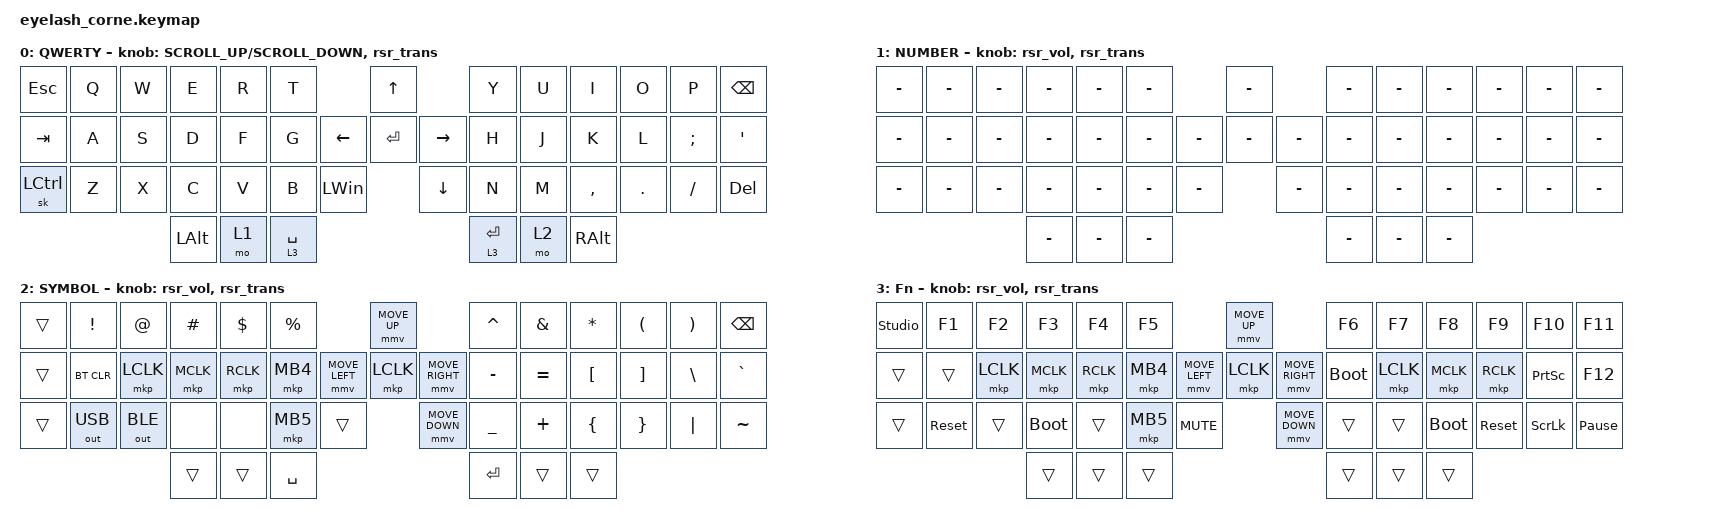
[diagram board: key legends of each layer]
#define ZMK_POINTING_DEFAULT_MOVE_VAL 1200  // 600
#define ZMK_POINTING_DEFAULT_SCRL_VAL 25   // 10

#include <input/processors.dtsi>
#include <zephyr/dt-bindings/input/input-event-codes.h>
#include <behaviors/runtime-sensor-rotate.dtsi>
#include <behaviors.dtsi>
#include <dt-bindings/zmk/bt.h>
#include <dt-bindings/zmk/keys.h>
#include <dt-bindings/zmk/outputs.h>
#include <dt-bindings/zmk/pointing.h>

&soft_off { hold-time-ms = <2000>; };

/ {
    behaviors {
        td0: td0 {
            compatible = "zmk,behavior-tap-dance";
            display-name = "Shift/Caps Lock Tap Dance";
            #binding-cells = <0>;
            bindings = <&kp LEFT_SHIFT>, <&kp CAPS>;
        };

        rsr_vol: rsr_vol {
            compatible = "zmk,behavior-runtime-sensor-rotate";
            #sensor-binding-cells = <0>;
            tap-ms = <5>;
            cw-binding = <&kp C_VOL_UP>;
            ccw-binding = <&kp C_VOL_DN>;
        };

        rsr_trans: rsr_trans {
            compatible = "zmk,behavior-runtime-sensor-rotate";
            #sensor-binding-cells = <0>;
            tap-ms = <0>;
        };
    };

    combos {
        compatible = "zmk,combos";

        softoff {
            bindings = <&soft_off>;
            key-positions = <1 15 29>;
        };
    };

    keymap {
        compatible = "zmk,keymap";

        default_layer {
            display-name = "QWERTY";
            bindings = <
&kp ESC    &kp Q  &kp W  &kp E         &kp R  &kp T                                  &kp UP                &kp Y        &kp U  &kp I      &kp O    &kp P     &kp BSPC
&kp TAB    &kp A  &kp S  &kp D         &kp F  &kp G                        &kp LEFT  &kp ENTER  &kp RIGHT  &kp H        &kp J  &kp K      &kp L    &kp SEMI  &kp SQT
&sk LCTRL  &kp Z  &kp X  &kp C         &kp V  &kp B        &kp LEFT_WIN              &kp DOWN              &kp N        &kp M  &kp COMMA  &kp DOT  &kp FSLH  &kp DELETE
                         &kp LEFT_ALT  &mo 1  &lt 3 SPACE                                                  &lt 3 ENTER  &mo 2  &kp RALT
            >;

            sensor-bindings =
                <&inc_dec_kp K_SCROLL_UP K_SCROLL_DOWN>,
                <&rsr_trans>;
        };

        lower_layer {
            display-name = "NUMBER";
            bindings = <
&kp MINUS  &kp MINUS  &kp MINUS  &kp MINUS  &kp MINUS  &kp MINUS                          &kp MINUS             &kp MINUS  &kp MINUS  &kp MINUS  &kp MINUS  &kp MINUS  &kp MINUS
&kp MINUS  &kp MINUS  &kp MINUS  &kp MINUS  &kp MINUS  &kp MINUS               &kp MINUS  &kp MINUS  &kp MINUS  &kp MINUS  &kp MINUS  &kp MINUS  &kp MINUS  &kp MINUS  &kp MINUS
&kp MINUS  &kp MINUS  &kp MINUS  &kp MINUS  &kp MINUS  &kp MINUS  &kp MINUS               &kp MINUS             &kp MINUS  &kp MINUS  &kp MINUS  &kp MINUS  &kp MINUS  &kp MINUS
                                 &kp MINUS  &kp MINUS  &kp MINUS                                                &kp MINUS  &kp MINUS  &kp MINUS
            >;

            sensor-bindings = <&rsr_vol &rsr_trans>;
        };

        raise_layer {
            display-name = "SYMBOL";
            bindings = <
&trans  &kp EXCL      &kp AT        &kp HASH   &kp DLLR   &kp PRCNT                            &mmv MOVE_UP                     &kp CARET  &kp AMPS   &kp ASTRK  &kp LPAR  &kp RPAR  &kp BSPC
&trans  &bt BT_CLR    &mkp LCLK     &mkp MCLK  &mkp RCLK  &mkp MB4             &mmv MOVE_LEFT  &mkp LCLK       &mmv MOVE_RIGHT  &kp MINUS  &kp EQUAL  &kp LBKT   &kp RBKT  &kp BSLH  &kp GRAVE
&trans  &out OUT_USB  &out OUT_BLE  &none      &none      &mkp MB5   &trans                    &mmv MOVE_DOWN                   &kp UNDER  &kp PLUS   &kp LBRC   &kp RBRC  &kp PIPE  &kp TILDE
                                    &trans     &trans     &kp SPACE                                                             &kp RET    &trans     &trans
            >;

            sensor-bindings = <&rsr_vol &rsr_trans>;
        };

        layer_3 {
            display-name = "Fn";
            bindings = <
&studio_unlock  &kp F1      &kp F2     &kp F3       &kp F4     &kp F5                                  &mmv MOVE_UP                     &kp F6       &kp F7     &kp F8       &kp F9      &kp F10          &kp F11
&trans          &trans      &mkp LCLK  &mkp MCLK    &mkp RCLK  &mkp MB4                &mmv MOVE_LEFT  &mkp LCLK       &mmv MOVE_RIGHT  &bootloader  &mkp LCLK  &mkp MCLK    &mkp RCLK   &kp PRINTSCREEN  &kp F12
&trans          &sys_reset  &trans     &bootloader  &trans     &mkp MB5  &kp C_MUTE                    &mmv MOVE_DOWN                   &trans       &trans     &bootloader  &sys_reset  &kp SCROLLLOCK   &kp PAUSE_BREAK
                                       &trans       &trans     &trans                                                                   &trans       &trans     &trans
            >;

            sensor-bindings = <&rsr_vol &rsr_trans>;
        };
    };
};
